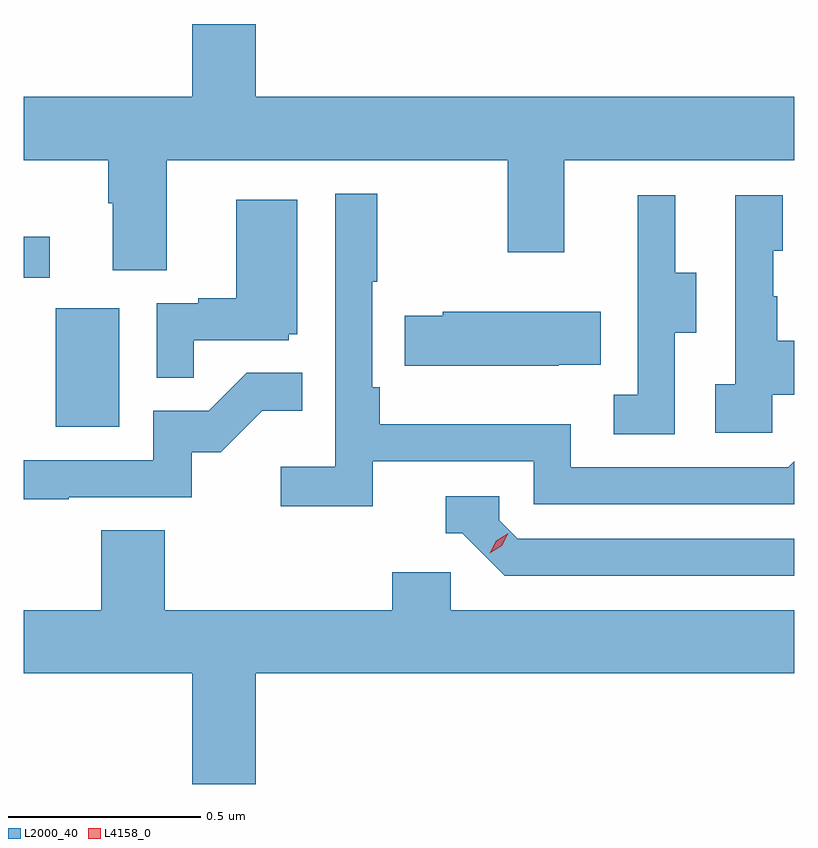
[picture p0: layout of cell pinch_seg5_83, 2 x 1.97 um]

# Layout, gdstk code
import gdstk
lib = gdstk.Library(unit=1e-6, precision=1e-09)
def R(c, l, rs):  # rectangles x0, y0, x1, y1
    for r in rs: c.add(gdstk.rectangle(r[:2], r[2:], *l))
def P(c, l, *ps):  # polygons
    for p in ps: c.add(gdstk.Polygon(p, *l))
L2000_40 = (2000, 40)
L4158_0 = (4158, 0)

pinch_seg5_83 = lib.new_cell('pinch_seg5_83')
R(pinch_seg5_83, L2000_40, [(1039.778,912.012,1039.942,912.319), (1039.694,912.399,1039.762,912.505)])
P(pinch_seg5_83, L2000_40, [(1040.065,912.704),(1040.95,912.704),(1040.95,912.465),(1041.097,912.465),(1041.097,912.704),(1041.694,912.704),(1041.694,912.868),(1040.296,912.868),(1040.296,913.057),(1040.132,913.057),(1040.132,912.868),(1039.694,912.868),(1039.694,912.704),(1039.913,912.704),(1039.913,912.592),(1039.925,912.592),(1039.925,912.418),(1040.065,912.418)],
  [(1040.6,911.922),(1041.018,911.922),(1041.018,911.811),(1041.694,911.811),(1041.694,911.923),(1041.678,911.907),(1041.114,911.907),(1041.114,912.019),(1040.618,912.019),(1040.618,912.115),(1040.598,912.115),(1040.598,912.388),(1040.611,912.388),(1040.611,912.616),(1040.502,912.616),(1040.502,911.908),(1040.361,911.908),(1040.361,911.806),(1040.6,911.806)],
  [(1041.636,912.095),(1041.694,912.095),(1041.694,912.235),(1041.649,912.235),(1041.649,912.35),(1041.639,912.35),(1041.639,912.468),(1041.664,912.468),(1041.664,912.613),(1041.54,912.613),(1041.54,912.122),(1041.489,912.122),(1041.489,911.997),(1041.636,911.997)],
  [(1041.384,912.256),(1041.439,912.256),(1041.439,912.411),(1041.385,912.411),(1041.385,912.613),(1041.287,912.613),(1041.287,912.399),(1041.288,912.399),(1041.288,912.095),(1041.225,912.095),(1041.225,911.992),(1041.384,911.992)],
  [(1040.135,912.237),(1040.382,912.237),(1040.382,912.252),(1040.404,912.252),(1040.404,912.601),(1040.246,912.601),(1040.246,912.346),(1040.147,912.346),(1040.147,912.333),(1040.04,912.333),(1040.04,912.139),(1040.135,912.139)],
  [(1041.083,912.173),(1041.191,912.173),(1041.191,912.31),(1040.781,912.31),(1040.781,912.3),(1040.683,912.3),(1040.683,912.17),(1041.083,912.17)],
  [(1039.811,911.829),(1040.13,911.829),(1040.13,911.946),(1040.206,911.946),(1040.313,912.053),(1040.417,912.053),(1040.417,912.152),(1040.273,912.152),(1040.175,912.054),(1040.031,912.054),(1040.031,911.925),(1039.694,911.925),(1039.694,911.824),(1039.811,911.824)],
  [(1041.694,911.721),(1040.976,911.721),(1040.928,911.769),(1040.928,911.832),(1040.789,911.832),(1040.789,911.736),(1040.832,911.736),(1040.943,911.625),(1041.694,911.625)],
  [(1040.296,911.372),(1041.694,911.372),(1041.694,911.536),(1040.802,911.536),(1040.802,911.634),(1040.651,911.634),(1040.651,911.536),(1040.06,911.536),(1040.06,911.744),(1039.895,911.744),(1039.895,911.536),(1039.694,911.536),(1039.694,911.372),(1040.132,911.372),(1040.132,911.085),(1040.296,911.085)])
P(pinch_seg5_83, L4158_0, [(1040.904,911.684),(1040.904,911.684),(1040.92,911.716),(1040.951,911.735),(1040.951,911.735),(1040.951,911.735),(1040.935,911.703),(1040.904,911.684)])

lib.write_gds('pinch_seg5_83.gds')
